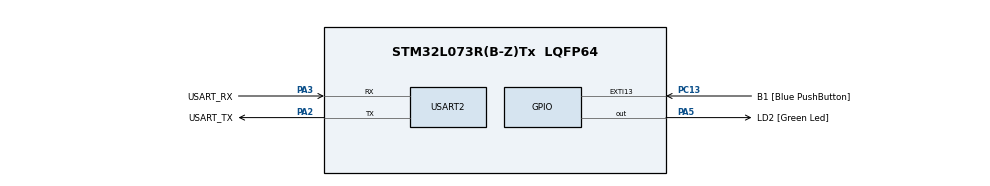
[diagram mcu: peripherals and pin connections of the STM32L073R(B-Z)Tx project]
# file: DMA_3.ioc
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Dma.Request0=USART2_TX
Dma.USART2_TX.0.Direction=DMA_MEMORY_TO_PERIPH
Dma.USART2_TX.0.Instance=DMA1_Channel4
Dma.USART2_TX.0.MemDataAlignment=DMA_MDATAALIGN_BYTE
Dma.USART2_TX.0.MemInc=DMA_MINC_ENABLE
Dma.USART2_TX.0.Mode=DMA_NORMAL
Dma.USART2_TX.0.PeriphDataAlignment=DMA_PDATAALIGN_BYTE
Dma.USART2_TX.0.PeriphInc=DMA_PINC_DISABLE
Dma.USART2_TX.0.Priority=DMA_PRIORITY_LOW
Mcu.Family=STM32L0
Mcu.Name=STM32L073R(B-Z)Tx
Mcu.Package=LQFP64
NVIC.DMA1_Channel4_5_6_7_IRQn=true\:0\:0\:false\:false\:true\:false\:true\:true
NVIC.USART2_IRQn=true\:0\:0\:false\:false\:true\:true\:true\:true
PA13.GPIO_Label=TMS
PA13.Mode=Serial_Wire
PA13.Signal=SYS_SWDIO
PA14.GPIO_Label=TCK
PA14.Mode=Serial_Wire
PA14.Signal=SYS_SWCLK
PA2.GPIO_Label=USART_TX
PA2.Mode=Asynchronous
PA2.Signal=USART2_TX
PA3.GPIO_Label=USART_RX
PA3.Mode=Asynchronous
PA3.Signal=USART2_RX
PA5.GPIO_Label=LD2 [Green Led]
PA5.Signal=GPIO_Output
PC13.GPIO_Label=B1 [Blue PushButton]
PC13.GPIO_ModeDefaultEXTI=GPIO_MODE_IT_FALLING
PC13.Signal=GPXTI13
PC14-OSC32_IN.Mode=LSE-External-Oscillator
PC14-OSC32_IN.Signal=RCC_OSC32_IN
PC15-OSC32_OUT.Mode=LSE-External-Oscillator
PC15-OSC32_OUT.Signal=RCC_OSC32_OUT
PH0-OSC_IN.GPIO_Label=MCO
PH0-OSC_IN.Mode=HSE-External-Clock-Source
PH0-OSC_IN.Signal=RCC_OSC_IN
ProjectManager.HeapSize=0x200
ProjectManager.StackSize=0x400
ProjectManager.TargetToolchain=STM32CubeIDE
RCC.AHBFreq_Value=2097000
RCC.APB1Freq_Value=2097000
RCC.APB1TimFreq_Value=2097000
RCC.APB2Freq_Value=2097000
RCC.APB2TimFreq_Value=2097000
RCC.HSE_VALUE=8000000
RCC.HSI16_VALUE=16000000
RCC.HSI48_VALUE=48000000
RCC.HSI_VALUE=16000000
RCC.MSI_VALUE=2097000
RCC.SYSCLKFreq_VALUE=2097000
RCC.VCOOutputFreq_Value=48000000
USART2.VirtualMode-Asynchronous=VM_ASYNC
board=NUCLEO-L073RZ

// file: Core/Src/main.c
/* USER CODE BEGIN Header */
/**
  ******************************************************************************
  * @file           : main.c
  * @brief          : Main program body
  ******************************************************************************
  * @attention
  *
  * Copyright (c) 2024 STMicroelectronics.
  * All rights reserved.
  *
  * This software is licensed under terms that can be found in the LICENSE file
  * in the root directory of this software component.
  * If no LICENSE file comes with this software, it is provided AS-IS.
  *
  ******************************************************************************
  */
/* USER CODE END Header */
#include "main.h"

UART_HandleTypeDef huart2;
DMA_HandleTypeDef hdma_usart2_tx;

void SystemClock_Config(void);
static void MX_GPIO_Init(void);
static void MX_DMA_Init(void);
static void MX_USART2_UART_Init(void);

/* USER CODE BEGIN 0 */
uint8_t TxData[10240]; //array of 10KB

int countLoop = 0;
int countInterrupt = 0;
int isSent = 1;//keep track of data being transferred
void HAL_UART_TxCpltCallback(UART_HandleTypeDef *huart)
{
	isSent = 1;
	//inform the CPU that the data has been transmitted.
	countInterrupt++;
}
/* USER CODE END 0 */

int main(void)
{

  /* MCU Configuration--------------------------------------------------------*/

  /* Reset of all peripherals, Initializes the Flash interface and the Systick. */
  HAL_Init();

  /* Configure the system clock */
  SystemClock_Config();

  /* Initialize all configured peripherals */
  MX_GPIO_Init();
  MX_DMA_Init();
  MX_USART2_UART_Init();
  /* USER CODE BEGIN 2 */
  for (uint32_t i=0; i<10240; i++)
  {
	  TxData [i] = i&(0xff);
  }
  /* USER CODE END 2 */

  /* Infinite loop */
  while (1)
  {

    /* USER CODE BEGIN 3 */
	if (isSent == 1)
	{
		HAL_UART_Transmit_DMA(&huart2, TxData, 10240);
		//HAL_MAX_DELAY means the function will never time out
		isSent = 0;
	}
	HAL_GPIO_TogglePin(GPIOA, GPIO_PIN_5);
	HAL_Delay(1000);
	countLoop++;
	//DMA = Direct Memory Access Controller
	//Provide high speed data transfer between peripherals and memory
	//and between memory and memory
	//Data can be quickly moved without CPU action
	//This keeps CPU resources for other operations

	//LED is blinking every 1 seconds.
	//The data is also received just like in the interrupt mode
	//but the CPU load is reduced

  }
  /* USER CODE END 3 */
}

void SystemClock_Config(void)
{
  RCC_OscInitTypeDef RCC_OscInitStruct = {0};
  RCC_ClkInitTypeDef RCC_ClkInitStruct = {0};
  RCC_PeriphCLKInitTypeDef PeriphClkInit = {0};

  /** Configure the main internal regulator output voltage
  */
  __HAL_PWR_VOLTAGESCALING_CONFIG(PWR_REGULATOR_VOLTAGE_SCALE1);

  /** Initializes the RCC Oscillators according to the specified parameters
  * in the RCC_OscInitTypeDef structure.
  */
  RCC_OscInitStruct.OscillatorType = RCC_OSCILLATORTYPE_HSE;
  RCC_OscInitStruct.HSEState = RCC_HSE_BYPASS;
  RCC_OscInitStruct.PLL.PLLState = RCC_PLL_NONE;
  if (HAL_RCC_OscConfig(&RCC_OscInitStruct) != HAL_OK)
  {
    Error_Handler();
  }

  /** Initializes the CPU, AHB and APB buses clocks
  */
  RCC_ClkInitStruct.ClockType = RCC_CLOCKTYPE_HCLK|RCC_CLOCKTYPE_SYSCLK
                              |RCC_CLOCKTYPE_PCLK1|RCC_CLOCKTYPE_PCLK2;
  RCC_ClkInitStruct.SYSCLKSource = RCC_SYSCLKSOURCE_HSE;
  RCC_ClkInitStruct.AHBCLKDivider = RCC_SYSCLK_DIV1;
  RCC_ClkInitStruct.APB1CLKDivider = RCC_HCLK_DIV1;
  RCC_ClkInitStruct.APB2CLKDivider = RCC_HCLK_DIV1;

  if (HAL_RCC_ClockConfig(&RCC_ClkInitStruct, FLASH_LATENCY_0) != HAL_OK)
  {
    Error_Handler();
  }
  PeriphClkInit.PeriphClockSelection = RCC_PERIPHCLK_USART2;
  PeriphClkInit.Usart2ClockSelection = RCC_USART2CLKSOURCE_PCLK1;
  if (HAL_RCCEx_PeriphCLKConfig(&PeriphClkInit) != HAL_OK)
  {
    Error_Handler();
  }
}

static void MX_USART2_UART_Init(void)
{

  huart2.Instance = USART2;
  huart2.Init.BaudRate = 115200;
  huart2.Init.WordLength = UART_WORDLENGTH_8B;
  huart2.Init.StopBits = UART_STOPBITS_1;
  huart2.Init.Parity = UART_PARITY_NONE;
  huart2.Init.Mode = UART_MODE_TX_RX;
  huart2.Init.HwFlowCtl = UART_HWCONTROL_NONE;
  huart2.Init.OverSampling = UART_OVERSAMPLING_16;
  huart2.Init.OneBitSampling = UART_ONE_BIT_SAMPLE_DISABLE;
  huart2.AdvancedInit.AdvFeatureInit = UART_ADVFEATURE_NO_INIT;
  if (HAL_UART_Init(&huart2) != HAL_OK)
  {
    Error_Handler();
  }

}

static void MX_DMA_Init(void)
{

  /* DMA controller clock enable */
  __HAL_RCC_DMA1_CLK_ENABLE();

  /* DMA interrupt init */
  /* DMA1_Channel4_5_6_7_IRQn interrupt configuration */
  HAL_NVIC_SetPriority(DMA1_Channel4_5_6_7_IRQn, 0, 0);
  HAL_NVIC_EnableIRQ(DMA1_Channel4_5_6_7_IRQn);

}

static void MX_GPIO_Init(void)
{
  GPIO_InitTypeDef GPIO_InitStruct = {0};

  /* GPIO Ports Clock Enable */
  __HAL_RCC_GPIOC_CLK_ENABLE();
  __HAL_RCC_GPIOH_CLK_ENABLE();
  __HAL_RCC_GPIOA_CLK_ENABLE();

  /*Configure GPIO pin Output Level */
  HAL_GPIO_WritePin(LD2_GPIO_Port, LD2_Pin, GPIO_PIN_RESET);

  /*Configure GPIO pin : B1_Pin */
  GPIO_InitStruct.Pin = B1_Pin;
  GPIO_InitStruct.Mode = GPIO_MODE_IT_FALLING;
  GPIO_InitStruct.Pull = GPIO_NOPULL;
  HAL_GPIO_Init(B1_GPIO_Port, &GPIO_InitStruct);

  /*Configure GPIO pin : LD2_Pin */
  GPIO_InitStruct.Pin = LD2_Pin;
  GPIO_InitStruct.Mode = GPIO_MODE_OUTPUT_PP;
  GPIO_InitStruct.Pull = GPIO_NOPULL;
  GPIO_InitStruct.Speed = GPIO_SPEED_FREQ_LOW;
  HAL_GPIO_Init(LD2_GPIO_Port, &GPIO_InitStruct);

}

void Error_Handler(void)
{
  __disable_irq();
  while (1)
  {
  }
}
